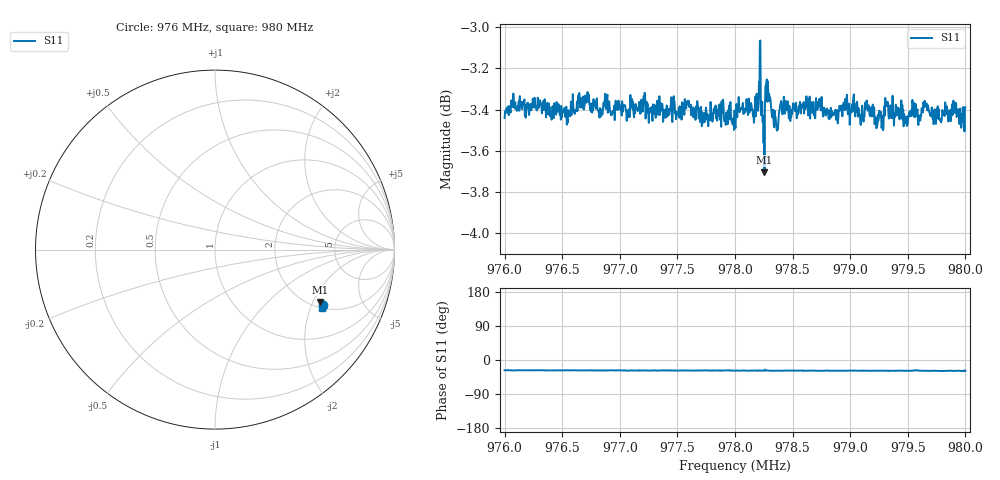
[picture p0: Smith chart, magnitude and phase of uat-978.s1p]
! Calibrated averaged scanner-service zoom
# Hz S RI R 50
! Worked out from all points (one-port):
!   1001 points, 976 MHz to 980 MHz, reference 50 ohm
!   lowest |S11| = -3.7 dB at 978.256 MHz (marker M1), VSWR 4.76, Z = 111 - j113 ohm
!   |S11| at or under -10 dB: nowhere
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9.76e8  0.5991 -0.3064
9.7608e8  0.6025 -0.312
9.765e8  0.6003 -0.3081
9.77e8  0.6026 -0.3102
9.77068e8  0.5966 -0.3156
9.772e8  0.5998 -0.3103
9.775e8  0.5964 -0.3145
9.77584e8  0.6009 -0.3153
9.7764e8  0.595 -0.3148
9.77756e8  0.5972 -0.3089
9.78e8  0.5919 -0.3163
9.78184e8  0.5991 -0.3157
9.78204e8  0.5971 -0.3192
9.78244e8  0.5951 -0.3158
9.78256e8  0.5835 -0.2925
9.7828e8  0.6003 -0.3173
9.78356e8  0.5905 -0.3188
9.785e8  0.5967 -0.3182
9.7874e8  0.5986 -0.3206
9.788e8  0.5991 -0.3128
9.79e8  0.597 -0.3127
9.79148e8  0.5962 -0.3218
9.795e8  0.5899 -0.3195
9.79572e8  0.6027 -0.3048
9.7966e8  0.5967 -0.3219
9.79724e8  0.5894 -0.3197
9.79792e8  0.5889 -0.3228
9.8e8  0.5936 -0.3252
